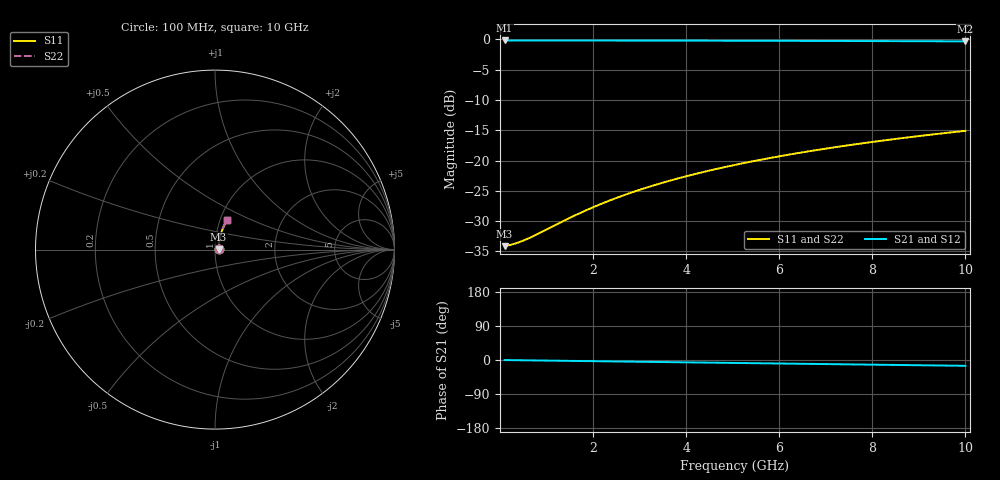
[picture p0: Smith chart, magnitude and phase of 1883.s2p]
# Hz S RI R 50.00
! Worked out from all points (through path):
!   100 points, 100 MHz to 10 GHz, reference 50 ohm
!   highest |S21| = -0.17 dB at 100 MHz (marker M1); lowest = -0.3 dB at 10 GHz (marker M2)
!   group delay of S21, straight-line fit = 4.26 ps
!   lowest |S11| = -34.1 dB at 100 MHz (marker M3), VSWR 1.04, Z = 52 + j0.18 ohm
!   |S11| at or under -10 dB: start of sweep to end of sweep
!   |S22| runs from -34.1 to -15.1 dB; largest |S21 - S12| = 0
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1e8  0.0195 0.00173  0.9805 -0.00265  0.9805 -0.00265  0.0195 0.00173
2e8  0.0197 0.00347  0.9803 -0.0053  0.9803 -0.0053  0.0197 0.00347
3e8  0.0198 0.0052  0.9802 -0.00795  0.9802 -0.00795  0.0198 0.0052
4e8  0.0199 0.00693  0.9801 -0.0106  0.9801 -0.0106  0.0199 0.00693
6e8  0.0201 0.0104  0.9799 -0.0159  0.9799 -0.0159  0.0201 0.0104
8e8  0.0203 0.0138  0.9796 -0.0212  0.9796 -0.0212  0.0203 0.0138
1.5e9  0.0213 0.0259  0.9785 -0.0397  0.9785 -0.0397  0.0213 0.0259
1.8e9  0.0219 0.0311  0.978 -0.0476  0.978 -0.0476  0.0219 0.0311
2.2e9  0.0227 0.038  0.9771 -0.0581  0.9771 -0.0581  0.0227 0.038
2.6e9  0.0237 0.0448  0.976 -0.0687  0.976 -0.0687  0.0237 0.0448
3e9  0.0248 0.0516  0.9748 -0.0792  0.9748 -0.0792  0.0248 0.0516
3.4e9  0.0261 0.0584  0.9734 -0.0896  0.9734 -0.0896  0.0261 0.0584
3.8e9  0.0275 0.0651  0.9719 -0.1  0.9719 -0.1  0.0275 0.0651
4.2e9  0.029 0.0718  0.9702 -0.1104  0.9702 -0.1104  0.029 0.0718
4.6e9  0.0307 0.0785  0.9684 -0.1208  0.9684 -0.1208  0.0307 0.0785
5.1e9  0.033 0.0868  0.9659 -0.1337  0.9659 -0.1337  0.033 0.0868
5.9e9  0.0371 0.0999  0.9614 -0.1541  0.9614 -0.1541  0.0371 0.0999
6.7e9  0.0418 0.1127  0.9563 -0.1743  0.9563 -0.1743  0.0418 0.1127
7.5e9  0.0469 0.1253  0.9506 -0.1943  0.9506 -0.1943  0.0469 0.1253
8.4e9  0.0534 0.1392  0.9435 -0.2165  0.9435 -0.2165  0.0534 0.1392
9.2e9  0.0596 0.1512  0.9367 -0.2358  0.9367 -0.2358  0.0596 0.1512
1e10  0.0664 0.1628  0.9293 -0.2549  0.9293 -0.2549  0.0664 0.1628
